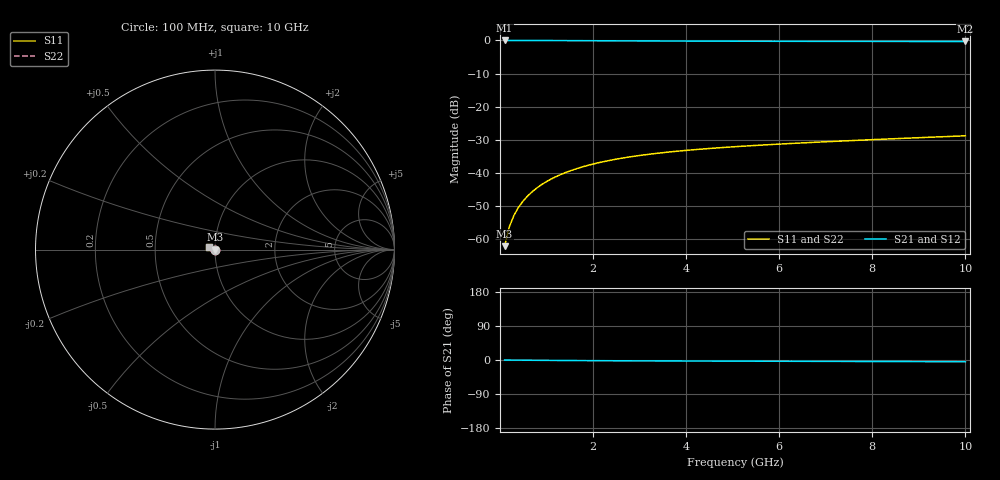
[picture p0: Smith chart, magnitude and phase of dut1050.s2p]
! Touchstone file exported from HFSS 2024.1.0
!  File:  C:/UserFiles/LocalFiles/RDL_TSV_Batchsim/temp_TSV1_1050_1780062537.aedt
!  Generated:  09:55:09 PM May 29, 2026
!  Design:  TSV1
!  Project:  temp_TSV1_1050_1780062537
!  Setup:  Setup1
!  Solution:  Sweep
! Variables:
!  dtsv = 8.19um
!  hbump = 3um
!  htsv = 66.6um
!  lrdl = 252.1521522um
!  p = 40
!  p1 = 56.37um
!  t = 500um
!  trdl = 3um
!  wrdl = 24.89489489um
# GHz S MA R 50.000000
! Terminal data exported
! Port[1] = TSV22_T1
! Port[2] = TSV22_T2
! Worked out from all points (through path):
!   100 points, 100 MHz to 10 GHz, reference 50 ohm
!   highest |S21| = 0.00 dB at 100 MHz (marker M1); lowest = -0.3 dB at 10 GHz (marker M2)
!   lowest |S11| = -62.1 dB at 100 MHz (marker M3), VSWR 1.00, Z = 50 - j0.0772 ohm
!   |S11| at or under -10 dB: start of sweep to end of sweep
!   |S22| runs from -62.1 to -28.8 dB; largest |S21 - S12| = 4.2e-15
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0.1  0.0007887 -78.1  0.9998 -0.1  0.9998 -0.1  0.0007887 -78.1
! Gamma 0 0 0 0
! Port Impedance 50 0 50 0
0.2  0.00154 -87.3  0.9997 -0.2  0.9997 -0.2  0.00154 -87.3
0.3  0.002297 -92.0  0.9995 -0.3  0.9995 -0.3  0.002297 -92.0
0.4  0.003052 -95.4  0.9993 -0.4  0.9993 -0.4  0.003052 -95.4
0.5  0.003802 -98.3  0.999 -0.5  0.999 -0.5  0.003802 -98.3
0.6  0.004545 -101.0  0.9987 -0.6  0.9987 -0.6  0.004545 -101.0
0.7  0.005281 -103.5  0.9983 -0.7  0.9983 -0.7  0.005281 -103.5
0.8  0.006007 -105.9  0.9979 -0.8  0.9979 -0.8  0.006007 -105.9
0.9  0.006723 -108.3  0.9974 -0.9  0.9974 -0.9  0.006723 -108.3
1.1  0.008119 -112.7  0.9963 -1.1  0.9963 -1.1  0.008119 -112.7
1.4  0.01011 -119.1  0.9945 -1.3  0.9945 -1.3  0.01011 -119.1
1.6  0.01136 -123.1  0.9932 -1.4  0.9932 -1.4  0.01136 -123.1
1.8  0.01255 -127.0  0.9918 -1.6  0.9918 -1.6  0.01255 -127.0
2.1  0.01421 -132.5  0.9898 -1.8  0.9898 -1.8  0.01421 -132.5
2.5  0.01621 -139.4  0.9871 -2.0  0.9871 -2.0  0.01621 -139.4
2.9  0.01798 -145.7  0.9845 -2.2  0.9845 -2.2  0.01798 -145.7
3.4  0.01993 -153.0  0.9815 -2.4  0.9815 -2.4  0.01993 -153.0
4.2  0.02258 -163.2  0.9774 -2.7  0.9774 -2.7  0.02258 -163.2
5.1  0.02509 -173.0  0.9739 -3.0  0.9739 -3.0  0.02509 -173.0
6.7  0.02894 172.9  0.9695 -3.5  0.9695 -3.5  0.02894 172.9
8.4  0.03278 161.1  0.9664 -4.1  0.9664 -4.1  0.03278 161.1
10  0.03643 152.2  0.9644 -4.6  0.9644 -4.6  0.03643 152.2
